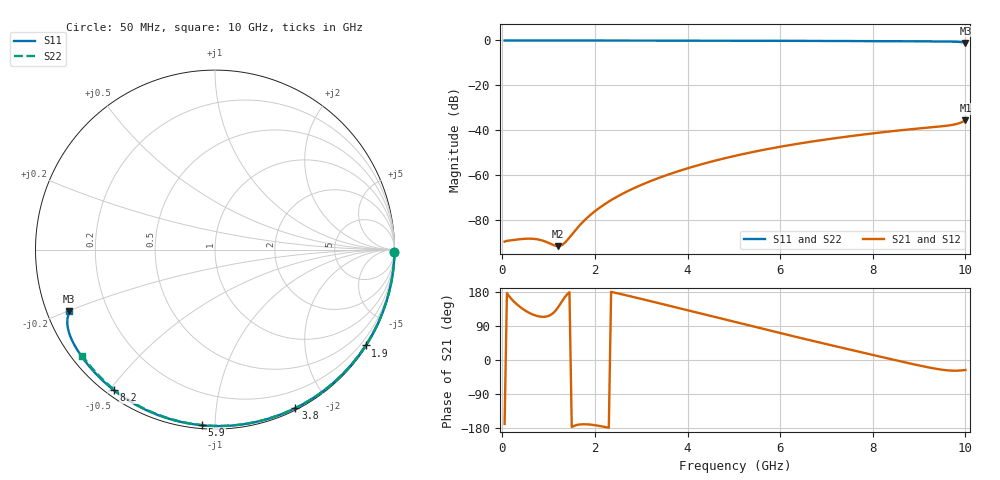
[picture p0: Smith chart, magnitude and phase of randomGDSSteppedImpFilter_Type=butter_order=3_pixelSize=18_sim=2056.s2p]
! freq	dB(S11)	phase(S11)	dB(S12)	phase(S12)
!  dB(S21)	phase(S21)	dB(S22)	phase(S22)
!S-par simulation data
#  GHz  S  DB  R 50
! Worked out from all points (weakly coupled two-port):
!   200 points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, 50 MHz to 10 GHz, reference 50 ohm
!   highest |S21| = -35.58 dB at 10 GHz (marker M1); lowest = -91.8 dB at 1.2 GHz (marker M2)
!   lowest |S11| = -1.1 dB at 10 GHz (marker M3), VSWR 15.93, Z = 3.27 - j10.1 ohm
!   |S11| at or under -10 dB: nowhere
!   |S22| runs from -0.5 to 0.0 dB; largest |S21 - S12| = 0
!   S11 on the Smith chart (normalised r, x): 50 MHz: open; 1.9 GHz: 0.03, -3.44; 3.8 GHz: 0.02, -1.63; 5.9 GHz: 0.02, -0.93; 8.2 GHz: 0.02, -0.51; 10 GHz: 0.07, -0.20
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0.05  -0.00 -0.9  -89.79 -168.8  -89.79 -168.8  -0.00 -0.8
0.6  -0.01 -10.4  -88.47 123.3  -88.47 123.3  -0.01 -9.8
1.2  -0.02 -20.7  -91.82 138.2  -91.82 138.2  -0.02 -19.5
1.75  -0.04 -29.9  -80.80 -169.5  -80.80 -169.5  -0.04 -28.2
1.8  -0.04 -30.8  -79.78 -169.6  -79.78 -169.6  -0.04 -29.0
1.9  -0.04 -32.4  -77.92 -170.4  -77.92 -170.4  -0.04 -30.6
2.2  -0.05 -37.4  -73.24 -176.3  -73.24 -176.3  -0.04 -35.3
2.55  -0.06 -43.2  -68.93 174.3  -68.93 174.3  -0.05 -40.7
2.95  -0.06 -49.7  -64.93 162.7  -64.93 162.7  -0.06 -46.8
3.4  -0.08 -56.8  -61.20 149.4  -61.20 149.4  -0.07 -53.6
3.8  -0.09 -63.1  -58.36 137.4  -58.36 137.4  -0.08 -59.5
4.4  -0.10 -72.3  -54.71 119.4  -54.71 119.4  -0.10 -68.3
5.05  -0.13 -81.9  -51.38 99.7  -51.38 99.7  -0.12 -77.5
5.9  -0.16 -94.2  -47.82 74.1  -47.82 74.1  -0.15 -89.1
6.7  -0.20 -105.4  -45.08 50.6  -45.08 50.6  -0.19 -99.7
7.45  -0.25 -115.6  -42.90 29.0  -42.90 29.0  -0.24 -109.4
8.2  -0.31 -125.8  -40.99 7.7  -40.99 7.7  -0.30 -118.9
8.35  -0.32 -127.8  -40.64 3.5  -40.64 3.5  -0.31 -120.8
9.05  -0.39 -137.5  -39.18 -15.7  -39.18 -15.7  -0.37 -129.5
9.55  -0.47 -145.2  -38.18 -26.5  -38.18 -26.5  -0.43 -135.7
9.85  -0.62 -151.6  -37.04 -28.1  -37.04 -28.1  -0.46 -139.5
10  -1.09 -157.1  -35.58 -26.4  -35.58 -26.4  -0.48 -141.3
